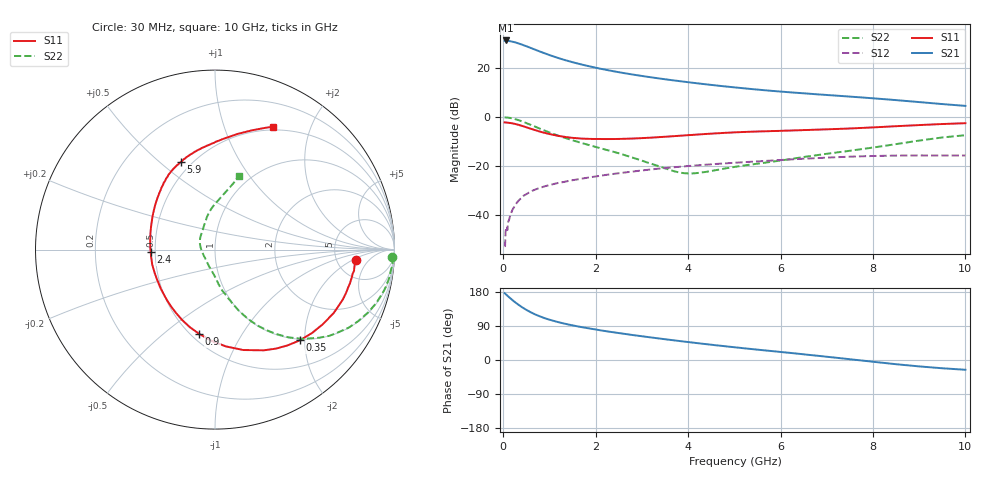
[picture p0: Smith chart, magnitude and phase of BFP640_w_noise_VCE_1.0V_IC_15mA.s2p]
! Infineon Technologies  Discrete & RF Semiconductors
! BFP640
! VCE =  1.0 V,  IC =  15 mA
! Common Emitter S-Parameters:  Apr 2013
# GHz  S  MA  R  50
!  f  S11  S21  S12  S22
! GHz  MAG  ANG  MAG  ANG  MAG  ANG  MAG  ANG
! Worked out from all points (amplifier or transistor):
!   99 points, 30 MHz to 10 GHz, reference 50 ohm
!   highest |S21| = 31.4 dB at 50 MHz (marker M1)
!   |S21| within 3 dB of that: start of sweep to 586.8 MHz
!   unconditionally stable (mu >= 1): 3.225 GHz to end of sweep
!   at 350 MHz: K = 0.21, MSG = 31.9 dB, |S12| = -33.8 dB
!   at 3.5 GHz: K = 1.02, MAG = 17.4 dB, |S12| = -20.8 dB
!   at 10 GHz: K = 1.08, MAG = 8.4 dB, |S12| = -15.6 dB
!   lowest NFmin = 0.75 dB at 450 MHz
!   S11 on the Smith chart (normalised r, x): 30 MHz: 7.58, -2.33; 350 MHz: 0.98, -1.89; 900 MHz: 0.55, -0.67; 2.4 GHz: 0.47, -0.01; 5.9 GHz: 0.44, +0.59; 10 GHz: 0.46, +1.47
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0.03  0.7852 -4.3  36.95 176.4  0.0023 82.5  0.9887 -2.3
0.05  0.7823 -7.5  37.35 174.4  0.0044 62.9  0.9921 -4.6
0.11  0.7711 -15.8  36.78 167.5  0.0075 86.0  0.9808 -10.1
0.2  0.7501 -28.0  35.19 158.1  0.0128 78.6  0.9468 -18.3
0.25  0.731 -34.6  34.33 153.1  0.0154 74.2  0.9215 -22.4
0.35  0.6916 -47.0  31.94 144.1  0.0205 70.2  0.8626 -30.3
0.45  0.6478 -58.4  29.63 136.0  0.0251 65.3  0.797 -37.1
0.6  0.5812 -74.3  26.14 125.7  0.0305 59.8  0.6964 -45.6
0.7  0.5423 -83.7  23.99 119.8  0.0334 57.0  0.6371 -50.1
0.9  0.4779 -100.6  20.35 110.2  0.0387 53.7  0.5325 -57.4
1  0.4542 -108.0  18.78 106.4  0.0409 52.4  0.4893 -60.4
1.2  0.415 -121.4  16.23 99.6  0.0454 50.4  0.4178 -65.1
1.4  0.3888 -133.4  14.24 93.9  0.0494 49.0  0.3624 -68.9
1.7  0.3662 -149.2  12 86.7  0.0554 47.4  0.2965 -73.3
2.4  0.3587 -178.0  8.704 72.9  0.0696 43.3  0.1948 -84.0
3.4  0.3939 152.1  6.184 56.4  0.0895 36.3  0.0978 -110.5
4.2  0.4433 134.3  4.955 44.5  0.1039 30.0  0.0723 -166.9
5.1  0.4953 120.4  4.007 32.4  0.1186 22.8  0.0995 147.3
5.9  0.5242 111.3  3.418 22.5  0.1317 16.6  0.1263 123.4
6.7  0.5544 102.3  2.997 12.5  0.1447 9.5  0.1633 109.4
8.5  0.6563 79.0  2.245 -11.1  0.1644 -8.4  0.282 85.2
10  0.7564 64.9  1.712 -25.8  0.1652 -19.7  0.4298 72.2
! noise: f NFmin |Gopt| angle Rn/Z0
0.45  0.75  0.16  7  0.02
0.9  0.77  0.15  15  0.02
1.5  0.79  0.12  26  0.04
1.9  0.79  0.09  43  0.04
2.4  0.82  0.13  -116  0.05
3.5  0.95  0.19  -105  0.07
5.5  1.16  0.22  -100  0.12
10  1.69  0.57  -57  0.42
